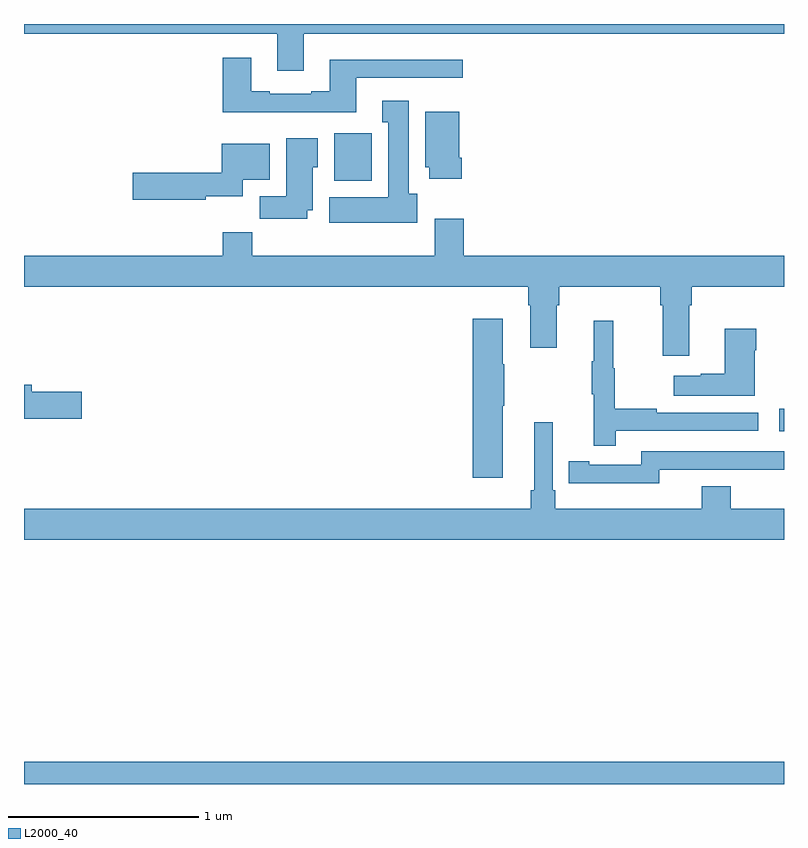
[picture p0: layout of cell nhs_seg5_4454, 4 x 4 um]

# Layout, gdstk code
import gdstk
lib = gdstk.Library(unit=1e-6, precision=1e-09)
def R(c, l, rs):  # rectangles x0, y0, x1, y1
    for r in rs: c.add(gdstk.rectangle(r[:2], r[2:], *l))
def P(c, l, *ps):  # polygons
    for p in ps: c.add(gdstk.Polygon(p, *l))
L2000_40 = (2000, 40)

nhs_seg5_4454 = lib.new_cell('nhs_seg5_4454')
R(nhs_seg5_4454, L2000_40, [(373,864.799,377,864.916), (376.974,866.655,377,866.775), (374.633,867.974,374.829,868.225)])
P(nhs_seg5_4454, L2000_40, [(374.473,868.748),(377,868.748),(377,868.799),(373,868.799),(373,868.748),(374.333,868.748),(374.333,868.554),(374.473,868.554)],
  [(374.749,868.515),(375.31,868.515),(375.31,868.612),(374.609,868.612),(374.609,868.444),(374.513,868.444),(374.513,868.431),(374.293,868.431),(374.293,868.444),(374.197,868.444),(374.197,868.621),(374.045,868.621),(374.045,868.334),(374.749,868.334)],
  [(375.07,867.906),(375.025,867.906),(375.025,868.396),(374.885,868.396),(374.885,868.283),(374.918,868.283),(374.918,867.886),(374.606,867.886),(374.606,867.752),(375.07,867.752)],
  [(375.305,868.096),(375.292,868.096),(375.292,868.336),(375.113,868.336),(375.113,868.044),(375.134,868.044),(375.134,867.984),(375.305,867.984)],
  [(374.491,867.818),(374.521,867.818),(374.521,868.044),(374.545,868.044),(374.545,868.198),(374.381,868.198),(374.381,867.892),(374.242,867.892),(374.242,867.774),(374.491,867.774)],
  [(373.956,867.893),(374.152,867.893),(374.152,867.98),(374.293,867.98),(374.293,868.168),(374.042,868.168),(374.042,868.016),(373.572,868.016),(373.572,867.874),(373.956,867.874)],
  [(376.501,867.32),(376.514,867.32),(376.514,867.416),(377,867.416),(377,867.58),(375.314,867.58),(375.314,867.775),(375.161,867.775),(375.161,867.58),(374.201,867.58),(374.201,867.704),(374.045,867.704),(374.045,867.58),(373,867.58),(373,867.416),(375.653,867.416),(375.653,867.32),(375.665,867.32),(375.665,867.096),(375.805,867.096),(375.805,867.32),(375.818,867.32),(375.818,867.416),(376.349,867.416),(376.349,867.32),(376.361,867.32),(376.361,867.054),(376.501,867.054)],
  [(375.52,866.791),(375.528,866.791),(375.528,867.008),(375.52,867.008),(375.52,867.247),(375.362,867.247),(375.362,866.412),(375.52,866.412)],
  [(376.115,866.658),(376.864,866.658),(376.864,866.754),(376.331,866.754),(376.331,866.774),(376.108,866.774),(376.108,866.988),(376.1,866.988),(376.1,867.238),(375.998,867.238),(375.998,867.025),(375.987,867.025),(375.987,866.851),(375.998,866.851),(375.998,866.58),(376.115,866.58)],
  [(376.846,867.083),(376.854,867.083),(376.854,867.196),(376.688,867.196),(376.688,866.957),(376.562,866.957),(376.562,866.947),(376.419,866.947),(376.419,866.843),(376.846,866.843)],
  [(373.303,866.864),(373.042,866.864),(373.042,866.9),(373,866.9),(373,866.722),(373.303,866.722)],
  [(377,866.248),(376.721,866.248),(376.721,866.365),(376.568,866.365),(376.568,866.248),(375.797,866.248),(375.797,866.344),(375.783,866.344),(375.783,866.704),(375.686,866.704),(375.686,866.344),(375.667,866.344),(375.667,866.248),(373,866.248),(373,866.084),(377,866.084)],
  [(376.344,866.454),(376.804,866.454),(376.804,866.453),(377,866.453),(377,866.55),(376.248,866.55),(376.248,866.478),(375.976,866.478),(375.976,866.498),(375.868,866.498),(375.868,866.382),(375.976,866.382),(375.976,866.381),(376.344,866.381)])

lib.write_gds('nhs_seg5_4454.gds')
